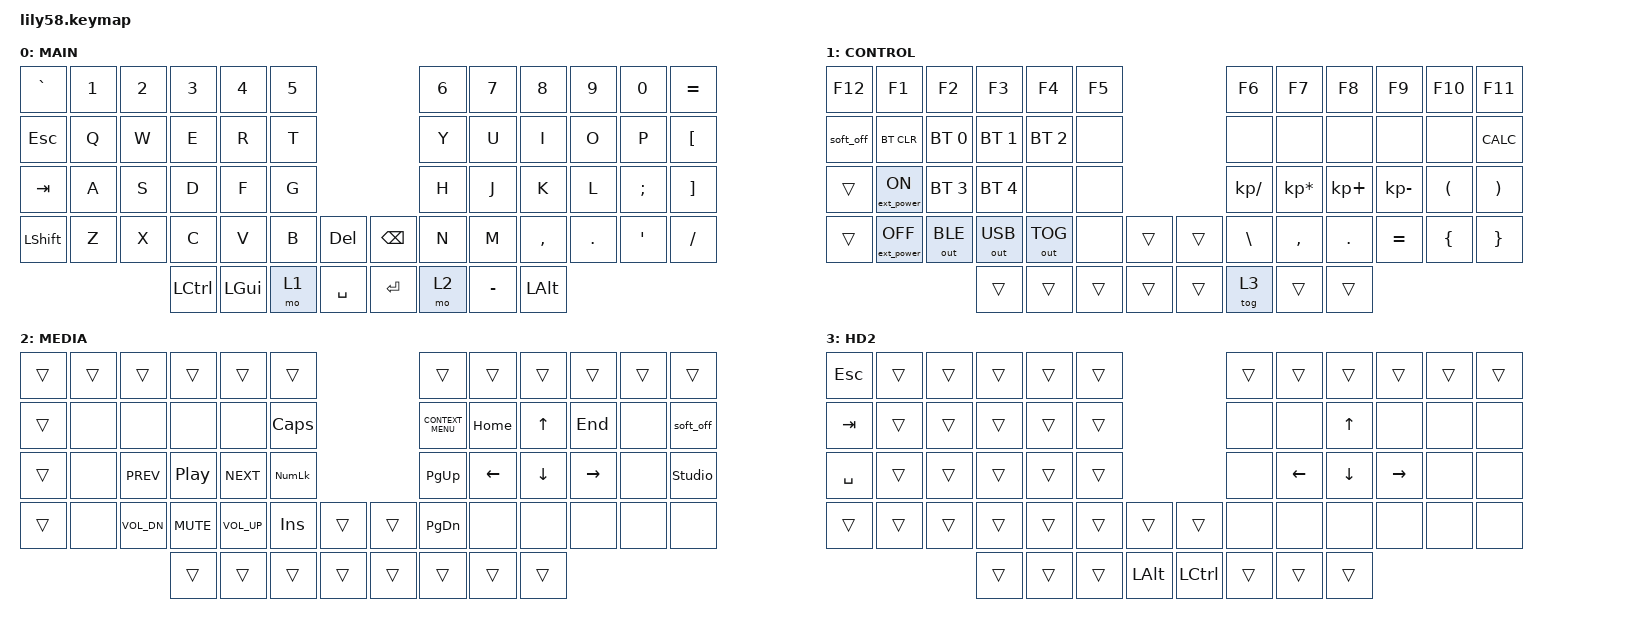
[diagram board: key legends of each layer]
/*
 * Copyright (c) 2020 The ZMK Contributors
 *
 * SPDX-License-Identifier: MIT
 */

#include <behaviors.dtsi>
#include <dt-bindings/zmk/bt.h>
#include <dt-bindings/zmk/ext_power.h>
#include <dt-bindings/zmk/keys.h>
#include <dt-bindings/zmk/outputs.h>

// Обращаемся к шине I2C вашей платы

&pro_micro_i2c {
    status = "okay";

    // Переопределяем параметры экрана модуля по его реальному имени узла

    oled: ssd1306@3c {
        compatible = "solomon,ssd1306fb";
        reg = <0x3c>;

        // УВЕЛИЧИВАЕМ ДЛИННУЮ СТОРОНУ: Снимаем ограничение в 128 пикселей.
        // Физический предел контроллера для работы с мультиплексом 127 — это 128 столбцов (но из-за структуры адресации 
        // чипа SSD1312, чтобы открыть "заблокированные" 30%, здесь нужно форсировать разрешение).

        width = <128>;
        height = <64>;  // Оставляем 64, так как короткая сторона занята идеально
        multiplex-ratio = <127>;

        /delete-property/ segment-offset;
        /delete-property/ page-offset;
        /delete-property/ display-offset;

        // НАСТРОЙКА СДВИГА ДЛЯ ЗАПОЛНЕНИЯ ПУСТЫХ 30%:
        // Так как display-offset уводил картинку вправо, мы используем segment-offset 
        // для заполнения оставшегося пространства вдоль длинной стороны.

        segment-offset = <0>;   // Сдвинет картинку и заполнит пустые 30% длины (если не хватит, попробуйте <40>)
        page-offset = <0>;       // Сбрасываем в 0, так как выравниваем по длинной стороне
        display-offset = <0>;    // Оставляем в 0, чтобы картинка не уезжала вбок
        segment-remap;

        /delete-property/ com-invdir;
        /delete-property/ com-sequential;

        prechargep = <0x22>;
    };
};

/ {
    /* 1. Объявляем физические или виртуальные клавиши через стандартный gpio-keys */
    /* Это создает phandle-узлы, которые ZMK сможет "увидеть" */

    left_keys: left_keys {
        compatible = "gpio-keys";

        wakeup_key_left: wakeup_key_left {
            /* Укажите здесь пин СТРОКИ вашей клавиши на левой половине */

            gpios = <&pro_micro 9 (GPIO_ACTIVE_HIGH | GPIO_PULL_DOWN)>;
        };
    };

    right_keys: right_keys {
        compatible = "gpio-keys";

        wakeup_key_right: wakeup_key_right {
            /* Укажите здесь пин СТРОКИ вашей клавиши на правой половине */

            gpios = <&pro_micro 9 (GPIO_ACTIVE_HIGH | GPIO_PULL_DOWN)>;
        };
    };

    /* 2. Привязываем созданные клавиши к драйверу пробуждения */

    wakeup_left: wakeup_left {
        compatible = "zmk,gpio-key-wakeup-trigger";
        wakeup-source;

        /* ПЕРЕДАЕМ ССЫЛКУ на созданный выше узел (а не пины напрямую!) */

        trigger = <&wakeup_key_left>;

        /* Укажите здесь пин СТОЛБЦА левой клавиши */

        extra-gpios = <&pro_micro 10 GPIO_ACTIVE_HIGH>;
    };

    wakeup_right: wakeup_right {
        compatible = "zmk,gpio-key-wakeup-trigger";
        wakeup-source;

        /* ССЫЛКА на узел правой клавиши */

        trigger = <&wakeup_key_right>;

        /* Укажите здесь пин СТОЛБЦА правой клавиши */

        extra-gpios = <&pro_micro 10 GPIO_ACTIVE_HIGH>;
    };

    /* 3. Регистрируем оба исправленных триггера в системе питания */

    soft_off_wakers {
        compatible = "zmk,soft-off-wakeup-sources";
        wakeup-sources = <&wakeup_left>, <&wakeup_right>;
    };

    keymap {
        compatible = "zmk,keymap";

        main {
            // ------------------------------------------------------------------------------------------------------------
            // |  ESC  |  1  |  2  |  3   |  4   |  5   |                   |  6   |  7    |  8    |  9   |   0   |   `   |
            // |  TAB  |  Q  |  W  |  E   |  R   |  T   |                   |  Y   |  U    |  I    |  O   |   P   |   -   |
            // |  CTRL |  A  |  S  |  D   |  F   |  G   |                   |  H   |  J    |  K    |  L   |   ;   |   '   |
            // | SHIFT |  Z  |  X  |  C   |  V   |  B   |   "["  |  |  "]"  |  N   |  M    |  ,    |  .   |   /   | SHIFT |
            //                     | ALT  | GUI  | LOWER|  SPACE |  | ENTER | RAISE| BSPC  | GUI   |

            display-name = "MAIN";
            bindings = <
&kp GRAVE  &kp N1  &kp N2  &kp N3            &kp N4        &kp N5                               &kp N6  &kp N7     &kp N8        &kp N9   &kp N0            &kp EQUAL
&kp ESC    &kp Q   &kp W   &kp E             &kp R         &kp T                                &kp Y   &kp U      &kp I         &kp O    &kp P             &kp LEFT_BRACKET
&kp TAB    &kp A   &kp S   &kp D             &kp F         &kp G                                &kp H   &kp J      &kp K         &kp L    &kp SEMI          &kp RIGHT_BRACKET
&kp LSHFT  &kp Z   &kp X   &kp C             &kp V         &kp B   &kp DELETE    &kp BACKSPACE  &kp N   &kp M      &kp COMMA     &kp DOT  &kp SINGLE_QUOTE  &kp SLASH
                           &kp LEFT_CONTROL  &kp LEFT_GUI  &mo 1   &kp SPACE     &kp RET        &mo 2   &kp MINUS  &kp LEFT_ALT
            >;
        };

        control {
            // ------------------------------------------------------------------------------------------------------------
            // | BTCLR | BT1 | BT2 |  BT3 |  BT4 |  BT5 |                   |      |       |       |      |       |       |
            // |  F1   |  F2 |  F3 |  F4  |  F5  |  F6  |                   |  F7  |  F8   |  F9   |  F10 |  F11  |  F12  |
            // |   `   |  !  |  @  |  #   |  $   |  %   |                   |  ^   |  &    |  *    |  (   |   )   |   ~   |
            // |       |     |     |      |      |      |        |  |       |      |  _    |  +    |  {   |   }   |  "|"  |
            //                     |      |      |      |        |  |       |      |       |       |

            display-name = "CONTROL";
            bindings = <
&kp F12    &kp F1             &kp F2        &kp F3        &kp F4        &kp F5                    &kp F6         &kp F7           &kp F8       &kp F9        &kp F10               &kp F11
&soft_off  &bt BT_CLR         &bt BT_SEL 0  &bt BT_SEL 1  &bt BT_SEL 2  &none                     &none          &none            &none        &none         &none                 &kp K_CALC
&trans     &ext_power EP_ON   &bt BT_SEL 3  &bt BT_SEL 4  &none         &none                     &kp KP_DIVIDE  &kp KP_ASTERISK  &kp KP_PLUS  &kp KP_MINUS  &kp LEFT_PARENTHESIS  &kp RIGHT_PARENTHESIS
&trans     &ext_power EP_OFF  &out OUT_BLE  &out OUT_USB  &out OUT_TOG  &none   &trans    &trans  &kp BACKSLASH  &kp COMMA        &kp DOT      &kp EQUAL     &kp LEFT_BRACE        &kp RIGHT_BRACE
                                            &trans        &trans        &trans  &trans    &trans  &tog 3         &trans           &trans
            >;
        };

        media {
            // ------------------------------------------------------------------------------------------------------------
            // |       |     |     |      |      |      |                   |      |       |       |      |       |       |
            // |   `   |  1  |  2  |  3   |  4   |  5   |                   |  6   |   7   |   8   |  9   |   0   |       |
            // |   F1  |  F2 |  F3 |  F4  |  F5  |  F6  |                   |      |   <-  |   v   |  ^   |  ->   |       |
            // |   F7  |  F8 |  F9 |  F10 |  F11 |  F12 |        |  |       |  +   |   -   |   =   |  [   |   ]   |   \   |
            //                     |      |      |      |        |  |       |      |       |       |

            display-name = "MEDIA";
            bindings = <
&trans  &trans  &trans        &trans            &trans           &trans                            &trans              &trans          &trans    &trans     &trans  &trans
&trans  &none   &none         &none             &none            &kp CAPSLOCK                      &kp K_CONTEXT_MENU  &kp HOME        &kp UP    &kp END    &none   &soft_off
&trans  &none   &kp C_PREV    &kp C_PLAY_PAUSE  &kp C_NEXT       &kp KP_NUMLOCK                    &kp PG_UP           &kp LEFT_ARROW  &kp DOWN  &kp RIGHT  &none   &studio_unlock
&trans  &none   &kp C_VOL_DN  &kp C_MUTE        &kp C_VOLUME_UP  &kp INSERT      &trans    &trans  &kp PG_DN           &none           &none     &none      &none   &none
                              &trans            &trans           &trans          &trans    &trans  &trans              &trans          &trans
            >;
        };

        HELLDIVER {
            bindings = <
&kp ESC    &trans  &trans  &trans  &trans  &trans                                    &trans  &trans          &trans          &trans           &trans  &trans
&kp TAB    &trans  &trans  &trans  &trans  &trans                                    &none   &none           &kp UP_ARROW    &none            &none   &none
&kp SPACE  &trans  &trans  &trans  &trans  &trans                                    &none   &kp LEFT_ARROW  &kp DOWN_ARROW  &kp RIGHT_ARROW  &none   &none
&trans     &trans  &trans  &trans  &trans  &trans  &trans          &trans            &none   &none           &none           &none            &none   &none
                           &trans  &trans  &trans  &kp LEFT_ALT    &kp LEFT_CONTROL  &trans  &trans          &trans
            >;

            label = "HD2";
        };
    };
};
